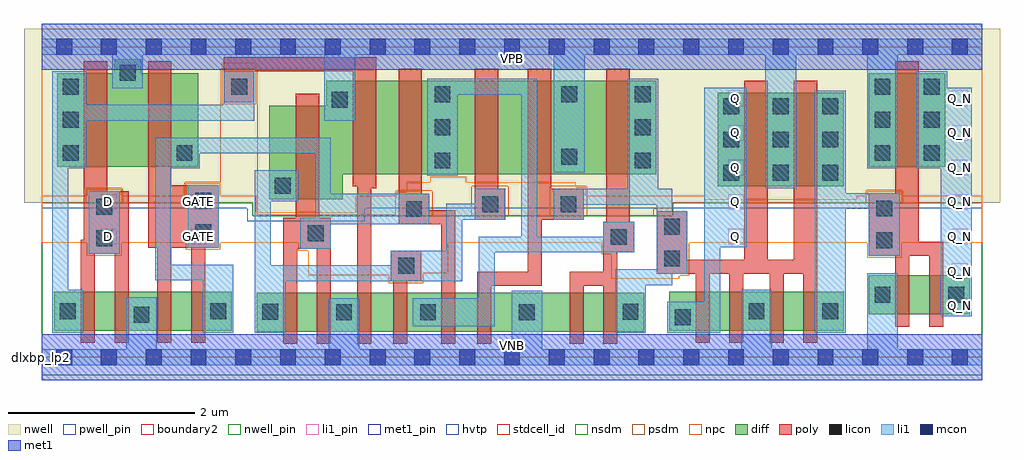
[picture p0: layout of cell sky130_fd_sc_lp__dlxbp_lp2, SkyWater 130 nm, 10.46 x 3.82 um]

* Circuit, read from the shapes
.subckt sky130_fd_sc_lp__dlxbp_lp2 D GATE Q Q_N VGND VNB VPB VPWR
XM1 n1 D n2 VNB sky130_fd_pr__nfet_01v8 w=0.42 l=0.15
XM2 VGND D n1 VNB sky130_fd_pr__nfet_01v8 w=0.42 l=0.15
XM3 n3 GATE VGND VNB sky130_fd_pr__nfet_01v8 w=0.42 l=0.15
XM4 n4 GATE n3 VNB sky130_fd_pr__nfet_01v8 w=0.42 l=0.15
XM5 n5 n4 n6 VNB sky130_fd_pr__nfet_01v8 w=0.42 l=0.15
XM6 VGND n4 n5 VNB sky130_fd_pr__nfet_01v8 w=0.42 l=0.15
XM7 n7 n2 VGND VNB sky130_fd_pr__nfet_01v8 w=0.42 l=0.15
XM8 n8 n6 n7 VNB sky130_fd_pr__nfet_01v8 w=0.42 l=0.15
XM9 n9 n4 n8 VNB sky130_fd_pr__nfet_01v8 w=0.42 l=0.15
XM10 VGND n10 n9 VNB sky130_fd_pr__nfet_01v8 w=0.42 l=0.15
XM11 n11 n8 VGND VNB sky130_fd_pr__nfet_01v8 w=0.42 l=0.15
XM12 n10 n8 n11 VNB sky130_fd_pr__nfet_01v8 w=0.42 l=0.15
XM13 n12 n10 Q VNB sky130_fd_pr__nfet_01v8 w=0.42 l=0.15
XM14 VGND n10 n12 VNB sky130_fd_pr__nfet_01v8 w=0.42 l=0.15
XM15 n13 n10 VGND VNB sky130_fd_pr__nfet_01v8 w=0.42 l=0.15
XM16 n14 n10 n13 VNB sky130_fd_pr__nfet_01v8 w=0.42 l=0.15
XM17 n15 n14 VGND VNB sky130_fd_pr__nfet_01v8 w=0.42 l=0.15
XM18 Q_N n14 n15 VNB sky130_fd_pr__nfet_01v8 w=0.42 l=0.15
XM19 VPWR D n2 VPB sky130_fd_pr__pfet_01v8_hvt w=1 l=0.25
XM20 n4 GATE VPWR VPB sky130_fd_pr__pfet_01v8_hvt w=1 l=0.25
XM21 VPWR n4 n6 VPB sky130_fd_pr__pfet_01v8_hvt w=1 l=0.25
XM22 n16 n2 VPWR VPB sky130_fd_pr__pfet_01v8_hvt w=1 l=0.25
XM23 n8 n4 n16 VPB sky130_fd_pr__pfet_01v8_hvt w=1 l=0.25
XM24 n17 n6 n8 VPB sky130_fd_pr__pfet_01v8_hvt w=1 l=0.25
XM25 VPWR n10 n17 VPB sky130_fd_pr__pfet_01v8_hvt w=1 l=0.25
XM26 n10 n8 VPWR VPB sky130_fd_pr__pfet_01v8_hvt w=1 l=0.25
XM27 VPWR n10 Q VPB sky130_fd_pr__pfet_01v8_hvt w=1 l=0.25
XM28 n14 n10 VPWR VPB sky130_fd_pr__pfet_01v8_hvt w=1 l=0.25
XM29 Q_N n14 VPWR VPB sky130_fd_pr__pfet_01v8_hvt w=1 l=0.25
.ends

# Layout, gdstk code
import gdstk
lib = gdstk.Library(unit=1e-6, precision=1e-09)
def R(c, l, rs):  # rectangles x0, y0, x1, y1
    for r in rs: c.add(gdstk.rectangle(r[:2], r[2:], *l))
def A(c, l, x, y, w, h, nx, ny, dx, dy):  # array of equal rectangles
    R(c, l, [(x+i*dx, y+j*dy, x+i*dx+w, y+j*dy+h) for i in range(nx) for j in range(ny)])
def P(c, l, *ps):  # polygons
    for p in ps: c.add(gdstk.Polygon(p, *l))
nwell_pin = (64, 16)
nwell = (64, 20)
diff = (65, 20)
poly = (66, 20)
licon = (66, 44)
li1_pin = (67, 16)
li1 = (67, 20)
mcon = (67, 44)
met1_pin = (68, 16)
met1 = (68, 20)
hvtp = (78, 44)
stdcell_id = (81, 4)
nsdm = (93, 44)
psdm = (94, 20)
npc = (95, 20)
pwell_pin = (122, 16)
boundary2 = (236, 0)

sky130_fd_sc_lp__dlxbp_l = lib.new_cell('sky130_fd_sc_lp__dlxbp_lp2')
R(sky130_fd_sc_lp__dlxbp_l, nwell_pin, [(0,3.085,10.08,3.33)])
P(sky130_fd_sc_lp__dlxbp_l, nwell, [(10.27,3.52),(-0.19,3.52),(-0.19,1.655),(2.26,1.655),(2.26,1.515),(6.765,1.515),(6.765,1.655),(10.27,1.655)])
R(sky130_fd_sc_lp__dlxbp_l, diff, [(2.305,0.275,6.455,0.695), (0.135,0.285,2.035,0.705), (6.725,0.285,8.595,0.705), (8.865,0.46,9.945,0.88), (7.245,1.835,8.595,2.835), (8.865,2.045,9.685,3.045)])
P(sky130_fd_sc_lp__dlxbp_l, diff, [(1.675,3.045),(1.065,3.045),(1.065,3.195),(0.775,3.195),(0.775,3.045),(0.165,3.045),(0.165,2.045),(1.675,2.045)],
  [(6.585,2.965),(3.05,2.965),(3.05,2.695),(2.44,2.695),(2.44,1.695),(3.225,1.695),(3.225,1.965),(6.585,1.965)])
P(sky130_fd_sc_lp__dlxbp_l, poly, [(0.93,1.78),(0.7,1.78),(0.7,3.175),(0.45,3.175),(0.45,1.26),(0.42,1.26),(0.42,0.155),(0.57,0.155),(0.57,1.11),(0.78,1.11),(0.78,0.155),(0.93,0.155)],
  [(1.895,1.845),(1.39,1.845),(1.39,3.175),(1.14,3.175),(1.14,1.175),(1.24,1.175),(1.24,0.155),(1.39,0.155),(1.39,1.175),(1.6,1.175),(1.6,0.155),(1.75,0.155),(1.75,1.175),(1.895,1.175)],
  [(3.1,1.495),(2.975,1.495),(2.975,2.825),(2.725,2.825),(2.725,1.495),(2.59,1.495),(2.59,0.145),(2.74,0.145),(2.74,1.165),(2.95,1.165),(2.95,0.145),(3.1,0.145)],
  [(3.585,3.215),(1.95,3.215),(1.95,2.735),(2.28,2.735),(2.28,3.065),(3.335,3.065),(3.335,1.835),(3.38,1.835),(3.38,0.145),(3.53,0.145),(3.53,1.81),(3.585,1.81)],
  [(4.07,1.145),(3.74,1.145),(3.74,0.815),(3.77,0.815),(3.77,0.145),(3.92,0.145),(3.92,0.815),(4.07,0.815)],
  [(4.43,1.575),(4.155,1.575),(4.155,1.755),(4.075,1.755),(4.075,3.095),(3.825,3.095),(3.825,1.425),(4.28,1.425),(4.28,0.145),(4.43,0.145)],
  [(4.97,1.805),(4.89,1.805),(4.89,3.095),(4.64,3.095),(4.64,1.475),(4.97,1.475)],
  [(5.81,1.805),(5.46,1.805),(5.46,3.095),(5.21,3.095),(5.21,0.92),(4.67,0.92),(4.67,0.145),(4.82,0.145),(4.82,0.77),(5.36,0.77),(5.36,1.475),(5.81,1.475)],
  [(6.35,1.455),(6.3,1.455),(6.3,3.095),(6.05,3.095),(6.05,1.455),(6.02,1.455),(6.02,0.92),(5.66,0.92),(5.66,0.145),(5.81,0.145),(5.81,0.77),(6.02,0.77),(6.02,0.145),(6.17,0.145),(6.17,1.125),(6.35,1.125)],
  [(8.31,2.965),(8.06,2.965),(8.06,1.045),(7.78,1.045),(7.78,2.965),(7.53,2.965),(7.53,1.045),(6.92,1.045),(6.92,1.565),(6.59,1.565),(6.59,0.895),(7.01,0.895),(7.01,0.155),(7.16,0.155),(7.16,0.895),(7.37,0.895),(7.37,0.155),(7.52,0.155),(7.52,0.895),(7.8,0.895),(7.8,0.155),(7.95,0.155),(7.95,0.895),(8.16,0.895),(8.16,0.155),(8.31,0.155)],
  [(9.66,1.24),(9.4,1.24),(9.4,3.175),(9.15,3.175),(9.15,1.76),(8.865,1.76),(8.865,1.09),(9.15,1.09),(9.15,0.33),(9.3,0.33),(9.3,1.09),(9.51,1.09),(9.51,0.33),(9.66,0.33)])
A(sky130_fd_sc_lp__dlxbp_l, licon, 7.305, 1.895, 0.17, 0.17, 3, 3, 0.53, 0.355)
A(sky130_fd_sc_lp__dlxbp_l, licon, 4.21, 2.025, 0.17, 0.17, 1, 3, 0, 0.355)
A(sky130_fd_sc_lp__dlxbp_l, licon, 6.355, 2.025, 0.17, 0.17, 1, 3, 0, 0.355)
A(sky130_fd_sc_lp__dlxbp_l, licon, 0.225, 2.105, 0.17, 0.17, 1, 3, 0, 0.355)
A(sky130_fd_sc_lp__dlxbp_l, licon, 8.925, 2.105, 0.17, 0.17, 1, 3, 0, 0.355)
A(sky130_fd_sc_lp__dlxbp_l, licon, 9.455, 2.105, 0.17, 0.17, 1, 3, 0, 0.355)
R(sky130_fd_sc_lp__dlxbp_l, licon, [(6.785,0.345,6.955,0.515), (0.985,0.37,1.155,0.54), (3.155,0.4,3.325,0.57), (4.055,0.4,4.225,0.57), (5.115,0.4,5.285,0.57), (2.365,0.405,2.535,0.575), (6.225,0.405,6.395,0.575), (0.195,0.41,0.365,0.58), (1.805,0.41,1.975,0.58), (7.575,0.41,7.745,0.58), (8.365,0.41,8.535,0.58), (8.925,0.585,9.095,0.755), (9.715,0.585,9.885,0.755), (3.82,0.895,3.99,1.065), (6.67,0.975,6.84,1.145), (8.945,1.17,9.115,1.34), (0.585,1.19,0.755,1.36), (6.1,1.205,6.27,1.375), (2.85,1.245,3.02,1.415), (1.645,1.255,1.815,1.425), (6.67,1.315,6.84,1.485), (3.905,1.505,4.075,1.675), (8.945,1.51,9.115,1.68), (0.585,1.53,0.755,1.7), (4.72,1.555,4.89,1.725), (5.56,1.555,5.73,1.725), (1.645,1.595,1.815,1.765), (2.5,1.755,2.67,1.925), (5.57,2.065,5.74,2.235), (1.445,2.105,1.615,2.275), (3.11,2.675,3.28,2.845), (5.57,2.735,5.74,2.905), (2.03,2.815,2.2,2.985), (0.835,2.965,1.005,3.135)])
A(sky130_fd_sc_lp__dlxbp_l, li1_pin, 9.755, 0.47, 0.17, 0.17, 1, 7, 0, 0.37)
A(sky130_fd_sc_lp__dlxbp_l, li1_pin, 7.355, 1.21, 0.17, 0.17, 1, 5, 0, 0.37)
R(sky130_fd_sc_lp__dlxbp_l, li1_pin, [(0.635,1.21,0.805,1.38), (1.595,1.21,1.765,1.38), (0.635,1.58,0.805,1.75), (1.595,1.58,1.765,1.75)])
R(sky130_fd_sc_lp__dlxbp_l, li1, [(0.505,1.11,0.835,1.78), (1.565,1.175,1.895,1.845)])
P(sky130_fd_sc_lp__dlxbp_l, li1, [(3.03,2.535),(3.03,3.245),(1.085,3.245),(1.085,2.885),(0.755,2.885),(0.755,3.245),(0,3.245),(0,3.415),(10.08,3.415),(10.08,3.245),(9.175,3.245),(9.175,2.025),(8.845,2.025),(8.845,3.245),(8.085,3.245),(8.085,1.815),(7.755,1.815),(7.755,3.245),(5.82,3.245),(5.82,1.985),(5.49,1.985),(5.49,3.245),(3.36,3.245),(3.36,2.535)],
  [(0.905,0.085),(0.905,0.645),(1.235,0.645),(1.235,0.085),(3.075,0.085),(3.075,0.635),(3.405,0.635),(3.405,0.085),(5.035,0.085),(5.035,0.715),(5.365,0.715),(5.365,0.085),(7.495,0.085),(7.495,0.725),(7.825,0.725),(7.825,0.085),(8.845,0.085),(8.845,0.9),(9.175,0.9),(9.175,0.085),(10.08,0.085),(10.08,-0.085),(0,-0.085),(0,0.085)],
  [(2.285,2.005),(2.75,2.005),(2.75,1.675),(2.455,1.675),(2.455,0.985),(3.74,0.985),(3.74,1.145),(4.335,1.145),(4.335,1.645),(4.64,1.645),(4.64,1.805),(4.96,1.805),(4.96,1.475),(4.505,1.475),(4.505,0.815),(2.615,0.815),(2.615,0.265),(2.285,0.265)],
  [(7.1,0.595),(7.1,2.89),(7.555,2.89),(7.555,1.18),(7.27,1.18),(7.27,0.265),(6.705,0.265),(6.705,0.595)],
  [(9.635,0.44),(9.635,2.025),(9.375,2.025),(9.375,3.065),(9.705,3.065),(9.705,2.89),(9.965,2.89),(9.965,0.44)],
  [(6.275,1.805),(6.275,2.985),(6.605,2.985),(6.605,1.805),(6.76,1.805),(6.76,1.565),(6.92,1.565),(6.92,0.895),(6.76,0.895),(6.76,0.775),(6.475,0.775),(6.475,0.265),(6.145,0.265),(6.145,0.945),(6.59,0.945),(6.59,1.635),(5.81,1.635),(5.81,1.475),(5.49,1.475),(5.49,1.805)],
  [(3.975,0.335),(3.975,0.635),(4.685,0.635),(4.685,1.295),(5.14,1.295),(5.14,2.815),(4.46,2.815),(4.46,1.945),(4.13,1.945),(4.13,2.985),(5.31,2.985),(5.31,1.295),(6.02,1.295),(6.02,1.455),(6.35,1.455),(6.35,1.125),(4.855,1.125),(4.855,0.335)],
  [(1.215,0.825),(1.215,2.355),(3.1,2.355),(3.1,1.755),(4.155,1.755),(4.155,1.425),(3.1,1.425),(3.1,1.165),(2.77,1.165),(2.77,1.495),(2.93,1.495),(2.93,2.185),(1.695,2.185),(1.695,2.025),(1.385,2.025),(1.385,0.995),(2.055,0.995),(2.055,0.265),(1.725,0.265),(1.725,0.825)],
  [(8.615,1.76),(9.195,1.76),(9.195,1.09),(8.865,1.09),(8.865,1.59),(8.615,1.59),(8.615,0.265),(8.285,0.265),(8.285,2.855),(8.615,2.855)],
  [(0.115,3.065),(0.475,3.065),(0.475,2.705),(1.95,2.705),(1.95,3.065),(2.28,3.065),(2.28,2.535),(0.475,2.535),(0.475,2.025),(0.285,2.025),(0.285,0.725),(0.445,0.725),(0.445,0.265),(0.115,0.265)])
A(sky130_fd_sc_lp__dlxbp_l, mcon, 0.155, -0.085, 0.17, 0.17, 21, 2, 0.48, 3.33)
R(sky130_fd_sc_lp__dlxbp_l, met1_pin, [(0,0,10.08,0.245), (0,3.085,10.08,3.33)])
R(sky130_fd_sc_lp__dlxbp_l, met1, [(0,-0.245,10.08,0.245), (0,3.085,10.08,3.575)])
P(sky130_fd_sc_lp__dlxbp_l, hvtp, [(10.08,3.33),(0,3.33),(0,1.6),(2.205,1.6),(2.205,1.46),(3.46,1.46),(3.46,1.6),(10.08,1.6)])
R(sky130_fd_sc_lp__dlxbp_l, stdcell_id, [(0,0,10.08,3.33)])
P(sky130_fd_sc_lp__dlxbp_l, nsdm, [(10.08,1.655),(6.765,1.655),(6.765,1.515),(2.26,1.515),(2.26,1.655),(0,1.655),(0,-0.19),(10.08,-0.19)])
P(sky130_fd_sc_lp__dlxbp_l, psdm, [(10.08,3.52),(0,3.52),(0,1.655),(0.475,1.655),(0.475,1.81),(0.865,1.81),(0.865,1.655),(1.535,1.655),(1.535,1.875),(1.92,1.875),(1.92,3.095),(2.31,3.095),(2.31,1.525),(3.795,1.525),(3.795,1.785),(4.185,1.785),(4.185,1.515),(4.61,1.515),(4.61,1.835),(5,1.835),(5,1.515),(5.45,1.515),(5.45,1.835),(5.84,1.835),(5.84,1.515),(6.56,1.515),(6.56,1.595),(6.765,1.595),(6.765,1.655),(8.835,1.655),(8.835,1.79),(9.225,1.79),(9.225,1.655),(10.08,1.655)])
R(sky130_fd_sc_lp__dlxbp_l, npc, [(1.93,2.715,2.3,3.155)])
P(sky130_fd_sc_lp__dlxbp_l, npc, [(10.08,1.73),(9.215,1.73),(9.215,1.78),(8.845,1.78),(8.845,1.73),(8.735,1.73),(8.735,1.695),(7.105,1.695),(7.105,1.73),(5.83,1.73),(5.83,1.825),(5.725,1.825),(5.725,1.875),(4.55,1.875),(4.55,1.935),(4.165,1.935),(4.165,1.875),(3.91,1.875),(3.91,1.775),(3.805,1.775),(3.805,1.73),(3.365,1.73),(3.365,1.555),(2.3,1.555),(2.3,1.73),(1.915,1.73),(1.915,1.865),(1.545,1.865),(1.545,1.73),(0.855,1.73),(0.855,1.8),(0.485,1.8),(0.485,1.73),(0,1.73),(0,1.23),(0.485,1.23),(0.485,1.09),(0.855,1.09),(0.855,1.23),(1.545,1.23),(1.545,1.155),(1.915,1.155),(1.915,1.23),(2.75,1.23),(2.75,1.145),(2.855,1.145),(2.855,0.88),(3.72,0.88),(3.72,0.795),(4.09,0.795),(4.09,0.9),(4.355,0.9),(4.355,1.23),(6,1.23),(6,1.105),(6.105,1.105),(6.105,0.84),(6.835,0.84),(6.835,0.875),(6.94,0.875),(6.94,1.23),(8.845,1.23),(8.845,1.07),(9.215,1.07),(9.215,1.23),(10.08,1.23)])
R(sky130_fd_sc_lp__dlxbp_l, pwell_pin, [(0,0,10.08,0.245)])
R(sky130_fd_sc_lp__dlxbp_l, boundary2, [(0,0,10.08,3.33)])
sky130_fd_sc_lp__dlxbp_l.add(gdstk.Label('VNB', (5.04,0.123), layer=64, texttype=59))
sky130_fd_sc_lp__dlxbp_l.add(gdstk.Label('VPB', (5.04,3.208), layer=64, texttype=5))
sky130_fd_sc_lp__dlxbp_l.add(gdstk.Label('dlxbp_lp2', (0,0), layer=83, texttype=44))
sky130_fd_sc_lp__dlxbp_l.add(gdstk.Label('VPWR', (5.04,3.208), layer=68, texttype=5))
sky130_fd_sc_lp__dlxbp_l.add(gdstk.Label('VGND', (5.04,0.123), layer=68, texttype=5))
sky130_fd_sc_lp__dlxbp_l.add(gdstk.Label('GATE', (1.68,1.295), layer=67, texttype=5))
sky130_fd_sc_lp__dlxbp_l.add(gdstk.Label('GATE', (1.68,1.665), layer=67, texttype=5))
sky130_fd_sc_lp__dlxbp_l.add(gdstk.Label('D', (0.72,1.295), layer=67, texttype=5))
sky130_fd_sc_lp__dlxbp_l.add(gdstk.Label('D', (0.72,1.665), layer=67, texttype=5))
sky130_fd_sc_lp__dlxbp_l.add(gdstk.Label('Q', (7.44,1.295), layer=67, texttype=5))
sky130_fd_sc_lp__dlxbp_l.add(gdstk.Label('Q', (7.44,1.665), layer=67, texttype=5))
sky130_fd_sc_lp__dlxbp_l.add(gdstk.Label('Q', (7.44,2.035), layer=67, texttype=5))
sky130_fd_sc_lp__dlxbp_l.add(gdstk.Label('Q', (7.44,2.405), layer=67, texttype=5))
sky130_fd_sc_lp__dlxbp_l.add(gdstk.Label('Q', (7.44,2.775), layer=67, texttype=5))
sky130_fd_sc_lp__dlxbp_l.add(gdstk.Label('Q_N', (9.84,0.555), layer=67, texttype=5))
sky130_fd_sc_lp__dlxbp_l.add(gdstk.Label('Q_N', (9.84,0.925), layer=67, texttype=5))
sky130_fd_sc_lp__dlxbp_l.add(gdstk.Label('Q_N', (9.84,1.295), layer=67, texttype=5))
sky130_fd_sc_lp__dlxbp_l.add(gdstk.Label('Q_N', (9.84,1.665), layer=67, texttype=5))
sky130_fd_sc_lp__dlxbp_l.add(gdstk.Label('Q_N', (9.84,2.035), layer=67, texttype=5))
sky130_fd_sc_lp__dlxbp_l.add(gdstk.Label('Q_N', (9.84,2.405), layer=67, texttype=5))
sky130_fd_sc_lp__dlxbp_l.add(gdstk.Label('Q_N', (9.84,2.775), layer=67, texttype=5))

lib.write_gds('sky130_fd_sc_lp__dlxbp_lp2.gds')
